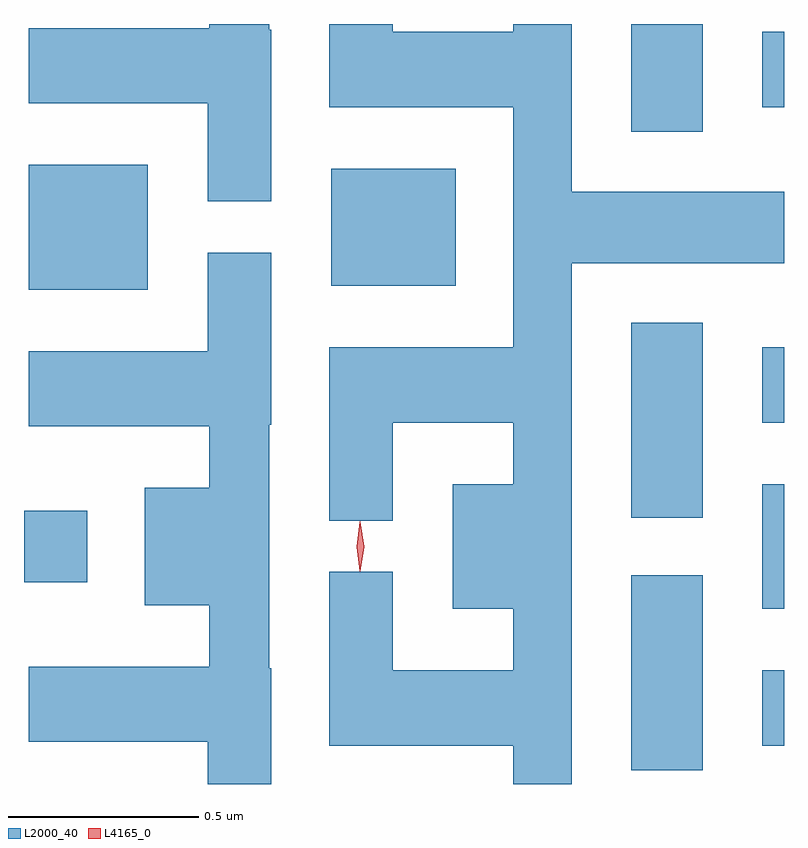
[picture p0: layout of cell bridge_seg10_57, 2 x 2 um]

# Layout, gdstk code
import gdstk
lib = gdstk.Library(unit=1e-6, precision=1e-09)
def R(c, l, rs):  # rectangles x0, y0, x1, y1
    for r in rs: c.add(gdstk.rectangle(r[:2], r[2:], *l))
def P(c, l, *ps):  # polygons
    for p in ps: c.add(gdstk.Polygon(p, *l))
L2000_40 = (2000, 40)
L4165_0 = (4165, 0)

bridge_seg10_57 = lib.new_cell('bridge_seg10_57')
R(bridge_seg10_57, L2000_40, [(1625.716,2158.501,1625.904,2159.014), (1626.061,2158.566,1626.118,2158.764), (1626.061,2158.926,1626.118,2159.254), (1624.118,2158.996,1624.284,2159.184), (1625.716,2159.166,1625.904,2159.679), (1626.061,2159.416,1626.118,2159.614), (1624.131,2159.766,1624.444,2160.094), (1624.926,2159.776,1625.254,2160.084), (1625.716,2160.181,1625.904,2160.465), (1626.061,2160.246,1626.118,2160.444)])
P(bridge_seg10_57, L2000_40, [(1624.769,2160.45),(1624.764,2160.45),(1624.764,2160.465),(1624.606,2160.465),(1624.606,2160.454),(1624.131,2160.454),(1624.131,2160.256),(1624.601,2160.256),(1624.601,2159.998),(1624.769,2159.998)],
  [(1625.559,2159.836),(1626.118,2159.836),(1626.118,2160.024),(1625.559,2160.024),(1625.559,2160.465),(1625.406,2160.465),(1625.406,2160.444),(1625.089,2160.444),(1625.089,2160.465),(1624.921,2160.465),(1624.921,2160.246),(1625.406,2160.246),(1625.406,2159.614),(1624.921,2159.614),(1624.921,2159.158),(1625.089,2159.158),(1625.089,2159.416),(1625.406,2159.416),(1625.406,2159.254),(1625.246,2159.254),(1625.246,2158.926),(1625.406,2158.926),(1625.406,2158.764),(1625.089,2158.764),(1625.089,2159.023),(1624.921,2159.023),(1624.921,2158.566),(1625.406,2158.566),(1625.406,2158.465),(1625.559,2158.465)],
  [(1624.769,2158.77),(1624.764,2158.77),(1624.764,2159.41),(1624.769,2159.41),(1624.769,2159.863),(1624.601,2159.863),(1624.601,2159.604),(1624.131,2159.604),(1624.131,2159.406),(1624.606,2159.406),(1624.606,2159.244),(1624.436,2159.244),(1624.436,2158.936),(1624.606,2158.936),(1624.606,2158.774),(1624.131,2158.774),(1624.131,2158.576),(1624.601,2158.576),(1624.601,2158.465),(1624.769,2158.465)])
P(bridge_seg10_57, L4165_0, [(1625.003,2159.024),(1625.002,2159.025),(1624.993,2159.09),(1625.002,2159.155),(1625.003,2159.156),(1625.003,2159.155),(1625.013,2159.09),(1625.003,2159.025)])

lib.write_gds('bridge_seg10_57.gds')
